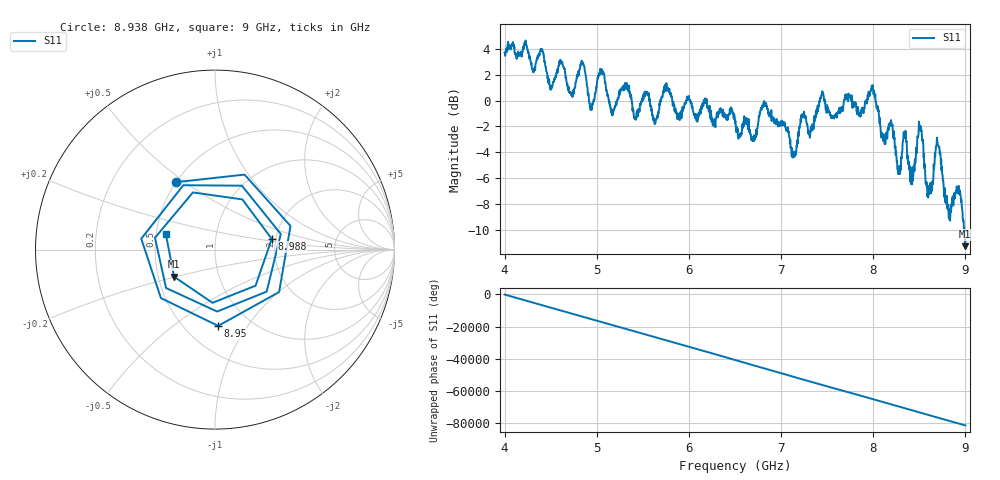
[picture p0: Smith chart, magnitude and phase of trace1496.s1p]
! Created with skrf 1.8.0 (http://scikit-rf.org).
# Hz S RI R 50.0
!freq ReS11 ImS11
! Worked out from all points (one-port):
!   1601 points, 4 GHz to 9 GHz, reference 50 ohm
!   lowest |S11| = -11.3 dB at 8.997 GHz (marker M1), VSWR 1.75, Z = 30.2 - j9.87 ohm
!   |S11| at or under -10 dB: 8.988839 GHz to end of sweep
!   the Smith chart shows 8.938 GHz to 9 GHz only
!   S11 on the Smith chart (normalised r, x): 8.938 GHz: 0.50, +0.46; 8.95 GHz: 0.72, -0.74; 8.988 GHz: 1.90, +0.25; 9 GHz: 0.56, +0.11
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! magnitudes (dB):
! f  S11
! 4 GHz  3.7
! 4.625 GHz  3.0
! 4.725 GHz  0.4
! 4.847 GHz  2.9
! 4.941 GHz  -0.4
! 5.05 GHz  2.3
! 5.162 GHz  -0.8
! 5.25 GHz  0.7
! 5.875 GHz  -1.4
! 6.5 GHz  -1.7
! 6.7 GHz  -3.1
! 6.822 GHz  -0.4
! 7.125 GHz  -4.4
! 7.438 GHz  0.5
! 7.75 GHz  0.3
! 7.997 GHz  1.0
! 8.275 GHz  -5.3
! 8.375 GHz  -4.2
! 8.425 GHz  -5.1
! 8.506 GHz  -2.0
! 8.594 GHz  -7.4
! 8.703 GHz  -3.5
! 8.812 GHz  -8.4
! 8.938 GHz  -7.3
! 8.95 GHz  -7.4
! 8.988 GHz  -9.8
! 8.997 GHz  -11.3
! 9 GHz  -10.8
